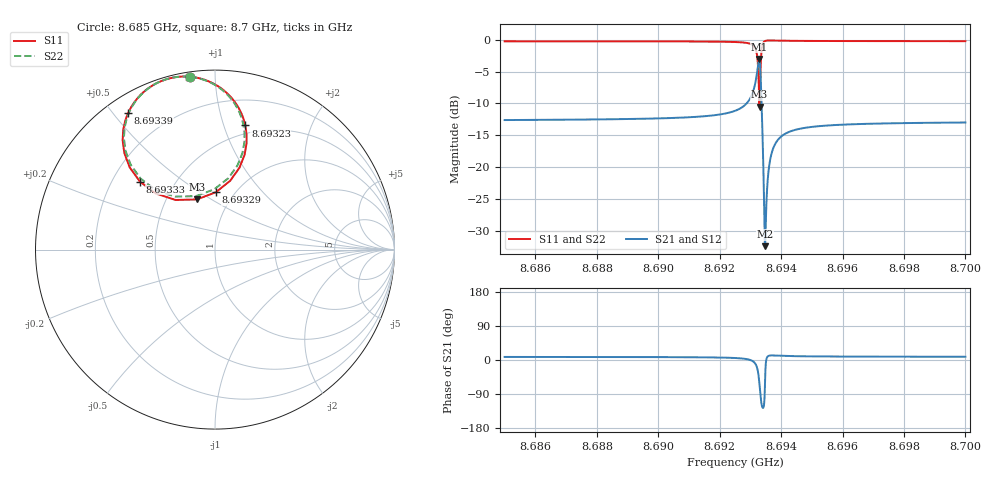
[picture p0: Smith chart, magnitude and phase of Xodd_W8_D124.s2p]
! Sonnet Data File
! From: emgraph Version : 16.52
! From Emgraph Data: Qubit_Xmon2_brg
! Data File Written: 10/23/2017 21:19:58
!< HDATE 10/23/2017 20:51:12
!< MDATE 10/23/2017 20:51:12
!< PARAMS
!< Lj = 11.0
!< Gap = 6.0
!< Pwid = 2000.0
!< Width = 10.0
!< Dist = 256.0000835
!< END PARAMS
# GHZ S MA R 34.70000
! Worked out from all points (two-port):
!   3001 points, 8.685 GHz to 8.7 GHz, reference 34.7 ohm
!   highest |S21| = -3.03 dB at 8.69329 GHz (marker M1); lowest = -32.4 dB at 8.69348 GHz (marker M2)
!   |S21| within 3 dB of the highest: 8.69319 GHz to 8.693337 GHz (146.3 kHz wide, 0.00168 % of centre)
!   lowest |S11| = -10.5 dB at 8.6933 GHz (marker M3), VSWR 1.85, Z = 24.5 + j15 ohm
!   |S11| at or under -10 dB: 8.693291 GHz to 8.693305 GHz (14.24 kHz wide, 0.000164 % of centre)
!   |S22| runs from -10.0 to -0.1 dB; largest |S21 - S12| = 0
!   S11 on the Smith chart (normalised r, x): 8.685 GHz: 0.02, +0.87; 8.69323 GHz: 0.42, +1.18; 8.69329 GHz: 0.82, +0.58; 8.69333 GHz: 0.32, +0.35; 8.69339 GHz: 0.07, +0.55; 8.7 GHz: 0.02, +0.86
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8.685  0.9723 98.1  0.2338 8.1  0.2338 8.1  0.9723 98.2
!< P1 F=8.685 Eeff=(5.13559215 -5.6621e-5) Z0=(34.6542042 -9.3986e-5) R=0.0 C=0.0
!< P2 F=8.685 Eeff=(5.13559215 -5.6621e-5) Z0=(34.6542042 -9.3986e-5) R=0.0 C=0.0
8.6875  0.9718 97.9  0.2359 8.0  0.2359 8.0  0.9718 98.0
8.69  0.9705 97.6  0.2409 7.6  0.2409 7.6  0.9705 97.7
8.6925  0.9599 95.5  0.2763 5.3  0.2763 5.3  0.9599 95.6
8.69286  0.946 93.2  0.3127 2.7  0.3127 2.7  0.9461 93.5
8.693075  0.9098 88.9  0.383 -3.0  0.383 -3.0  0.9102 89.2
8.693165  0.8512 83.8  0.4624 -10.3  0.4624 -10.3  0.8522 84.4
8.69323  0.7119 76.3  0.581 -23.9  0.581 -23.9  0.7149 77.2
8.69329  0.3195 89.2  0.7057 -58.6  0.7057 -58.6  0.3361 90.7
8.6933  0.2972 109.8  0.6934 -67.6  0.6934 -67.6  0.3163 109.7
8.69333  0.5639 137.8  0.545 -95.1  0.545 -95.1  0.5731 136.3
8.69339  0.9016 122.5  0.2009 -124.3  0.2009 -124.3  0.9038 121.9
8.693435  0.9585 115.3  0.07364 -122.9  0.07364 -122.9  0.9596 115.0
8.69348  0.977 111.3  0.02388 -50.1  0.02388 -50.1  0.9777 111.0
8.693525  0.9838 108.7  0.05373 2.8  0.05373 2.8  0.9842 108.5
8.693595  0.9868 106.2  0.0946 10.9  0.0946 10.9  0.9871 106.1
8.693655  0.987 104.9  0.1176 11.9  0.1176 11.9  0.9872 104.8
8.69384  0.9851 102.6  0.1564 11.6  0.1564 11.6  0.9851 102.5
8.694235  0.9814 100.8  0.1877 10.5  0.1877 10.5  0.9814 100.8
8.695  0.9781 99.6  0.2066 9.6  0.2066 9.6  0.9782 99.7
8.6975  0.9754 98.8  0.2203 8.8  0.2203 8.8  0.9754 98.8
8.7  0.9746 98.6  0.2238 8.6  0.2238 8.6  0.9746 98.6
